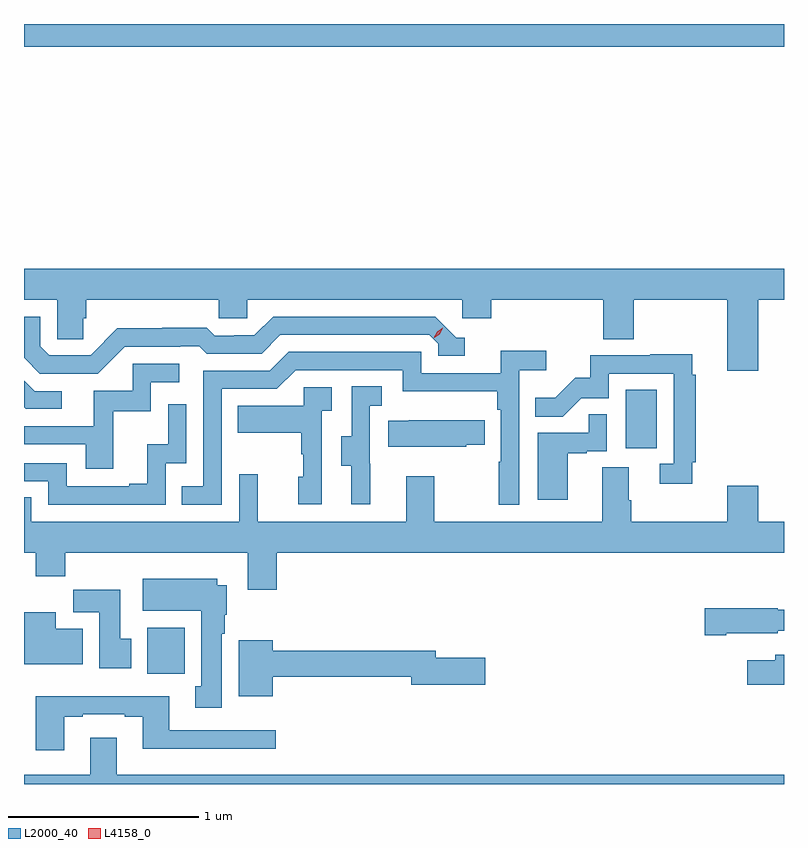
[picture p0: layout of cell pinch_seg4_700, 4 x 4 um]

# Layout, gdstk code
import gdstk
lib = gdstk.Library(unit=1e-6, precision=1e-09)
def R(c, l, rs):  # rectangles x0, y0, x1, y1
    for r in rs: c.add(gdstk.rectangle(r[:2], r[2:], *l))
def P(c, l, *ps):  # polygons
    for p in ps: c.add(gdstk.Polygon(p, *l))
L2000_40 = (2000, 40)
L4158_0 = (4158, 0)

pinch_seg4_700 = lib.new_cell('pinch_seg4_700')
R(pinch_seg4_700, L2000_40, [(1109.009,749.564,1109.206,749.806), (1111.526,750.75,1111.69,751.057), (1108.36,752.864,1112.36,752.983)])
P(pinch_seg4_700, L2000_40, [(1108.36,751.532),(1108.536,751.532),(1108.536,751.324),(1108.673,751.324),(1108.673,751.434),(1108.688,751.434),(1108.688,751.532),(1109.385,751.532),(1109.385,751.434),(1109.535,751.434),(1109.535,751.532),(1110.666,751.532),(1110.666,751.434),(1110.818,751.434),(1110.818,751.532),(1111.409,751.532),(1111.409,751.324),(1111.569,751.324),(1111.569,751.532),(1112.06,751.532),(1112.06,751.158),(1112.224,751.158),(1112.224,751.532),(1112.36,751.532),(1112.36,751.696),(1108.36,751.696)],
  [(1108.89,751.284),(1109.183,751.284),(1109.183,751.287),(1109.282,751.287),(1109.321,751.248),(1109.61,751.248),(1109.709,751.347),(1110.492,751.347),(1110.54,751.299),(1110.54,751.236),(1110.679,751.236),(1110.679,751.332),(1110.636,751.332),(1110.525,751.443),(1109.672,751.443),(1109.573,751.344),(1109.466,751.344),(1109.466,751.341),(1109.363,751.341),(1109.321,751.384),(1109.088,751.384),(1109.088,751.381),(1108.852,751.381),(1108.71,751.239),(1108.494,751.239),(1108.446,751.287),(1108.446,751.443),(1108.36,751.443),(1108.36,751.226),(1108.443,751.143),(1108.749,751.143)],
  [(1109.4,751.062),(1109.691,751.062),(1109.79,751.161),(1110.354,751.161),(1110.354,751.049),(1110.85,751.049),(1110.85,750.953),(1110.87,750.953),(1110.87,750.68),(1110.858,750.68),(1110.858,750.453),(1110.966,750.453),(1110.966,751.16),(1111.108,751.16),(1111.108,751.262),(1110.869,751.262),(1110.869,751.146),(1110.45,751.146),(1110.45,751.257),(1109.753,751.257),(1109.654,751.158),(1109.304,751.158),(1109.304,750.549),(1109.191,750.549),(1109.191,750.453),(1109.4,750.453)],
  [(1111.877,750.676),(1111.895,750.676),(1111.895,751.136),(1111.877,751.136),(1111.877,751.244),(1111.657,751.244),(1111.657,751.239),(1111.339,751.239),(1111.339,751.122),(1111.262,751.122),(1111.155,751.015),(1111.051,751.015),(1111.051,750.916),(1111.195,750.916),(1111.293,751.014),(1111.437,751.014),(1111.437,751.143),(1111.779,751.143),(1111.779,750.669),(1111.707,750.669),(1111.707,750.564),(1111.877,750.564)],
  [(1108.829,750.945),(1109.028,750.945),(1109.028,751.098),(1109.176,751.098),(1109.176,751.194),(1108.932,751.194),(1108.932,751.053),(1108.727,751.053),(1108.727,750.867),(1108.36,750.867),(1108.36,750.771),(1108.685,750.771),(1108.685,750.642),(1108.829,750.642)],
  [(1108.558,751.05),(1108.416,751.05),(1108.36,751.106),(1108.36,750.967),(1108.37,750.957),(1108.558,750.957)],
  [(1110.182,750.669),(1110.18,750.669),(1110.18,750.973),(1110.244,750.973),(1110.244,751.076),(1110.084,751.076),(1110.084,750.813),(1110.029,750.813),(1110.029,750.658),(1110.083,750.658),(1110.083,750.456),(1110.182,750.456)],
  [(1109.928,750.947),(1109.98,750.947),(1109.98,751.071),(1109.832,751.071),(1109.832,750.973),(1109.485,750.973),(1109.485,750.833),(1109.82,750.833),(1109.82,750.719),(1109.83,750.719),(1109.83,750.6),(1109.804,750.6),(1109.804,750.456),(1109.928,750.456)],
  [(1109.106,750.672),(1109.214,750.672),(1109.214,750.982),(1109.118,750.982),(1109.118,750.77),(1109.009,750.77),(1109.009,750.562),(1108.913,750.562),(1108.913,750.549),(1108.584,750.549),(1108.584,750.672),(1108.36,750.672),(1108.36,750.576),(1108.488,750.576),(1108.488,750.453),(1109.106,750.453)],
  [(1111.222,750.723),(1111.322,750.723),(1111.322,750.735),(1111.428,750.735),(1111.428,750.929),(1111.333,750.929),(1111.333,750.831),(1111.064,750.831),(1111.064,750.48),(1111.222,750.48)],
  [(1110.687,750.769),(1110.785,750.769),(1110.785,750.898),(1110.385,750.898),(1110.385,750.895),(1110.277,750.895),(1110.277,750.758),(1110.687,750.758)],
  [(1109.69,750.2),(1112.36,750.2),(1112.36,750.364),(1112.224,750.364),(1112.224,750.553),(1112.06,750.553),(1112.06,750.364),(1111.556,750.364),(1111.556,750.476),(1111.543,750.476),(1111.543,750.65),(1111.403,750.65),(1111.403,750.364),(1110.519,750.364),(1110.519,750.604),(1110.371,750.604),(1110.371,750.364),(1109.591,750.364),(1109.591,750.613),(1109.493,750.613),(1109.493,750.364),(1108.398,750.364),(1108.398,750.491),(1108.36,750.491),(1108.36,750.2),(1108.421,750.2),(1108.421,750.076),(1108.577,750.076),(1108.577,750.2),(1109.537,750.2),(1109.537,750.006),(1109.69,750.006)],
  [(1109.401,749.774),(1109.416,749.774),(1109.416,749.874),(1109.428,749.874),(1109.428,750.028),(1109.377,750.028),(1109.377,750.064),(1108.985,750.064),(1108.985,749.894),(1109.294,749.894),(1109.294,749.498),(1109.261,749.498),(1109.261,749.385),(1109.401,749.385)],
  [(1108.924,749.748),(1108.867,749.748),(1108.867,750.006),(1108.618,750.006),(1108.618,749.888),(1108.757,749.888),(1108.757,749.592),(1108.924,749.592)],
  [(1112.056,749.777),(1112.328,749.777),(1112.328,749.79),(1112.36,749.79),(1112.36,749.899),(1112.328,749.899),(1112.328,749.907),(1111.944,749.907),(1111.944,749.765),(1112.056,749.765)],
  [(1108.669,749.8),(1108.528,749.8),(1108.528,749.887),(1108.36,749.887),(1108.36,749.612),(1108.669,749.612)],
  [(1109.668,749.548),(1110.398,749.548),(1110.398,749.506),(1110.787,749.506),(1110.787,749.648),(1110.526,749.648),(1110.526,749.684),(1109.668,749.684),(1109.668,749.74),(1109.489,749.74),(1109.489,749.444),(1109.668,749.444)],
  [(1112.36,749.664),(1112.315,749.664),(1112.315,749.635),(1112.166,749.635),(1112.166,749.506),(1112.36,749.506)],
  [(1108.573,749.337),(1108.669,749.337),(1108.669,749.349),(1108.889,749.349),(1108.889,749.337),(1108.985,749.337),(1108.985,749.168),(1109.686,749.168),(1109.686,749.265),(1109.125,749.265),(1109.125,749.446),(1108.421,749.446),(1108.421,749.16),(1108.573,749.16)],
  [(1112.36,749.032),(1108.849,749.032),(1108.849,749.227),(1108.709,749.227),(1108.709,749.032),(1108.36,749.032),(1108.36,748.983),(1112.36,748.983)])
P(pinch_seg4_700, L4158_0, [(1110.517,751.332),(1110.517,751.332),(1110.534,751.364),(1110.564,751.384),(1110.565,751.384),(1110.565,751.383),(1110.548,751.351),(1110.518,751.332)])

lib.write_gds('pinch_seg4_700.gds')
